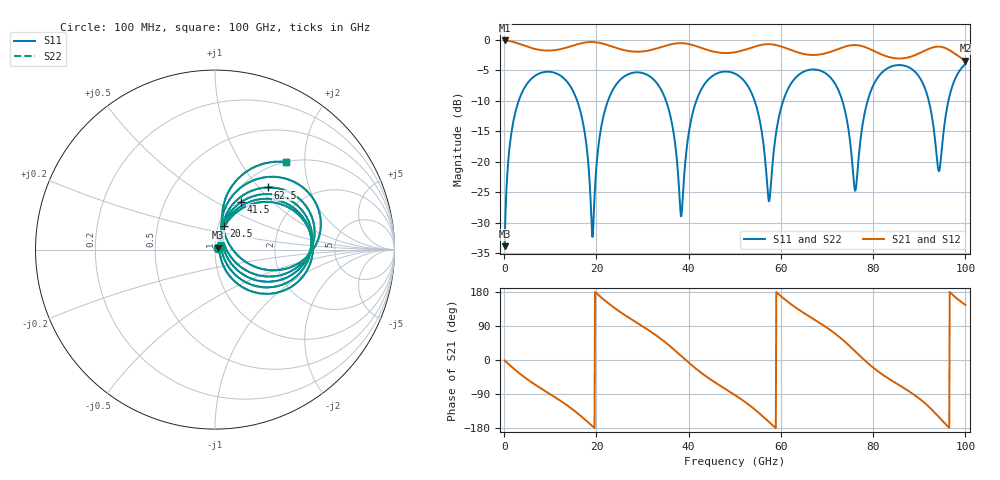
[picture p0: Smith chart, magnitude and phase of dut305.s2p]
! Touchstone file exported from HFSS 2026.1.0
!  File:  C:/ffzhzh/LocalFiles/Ansys_Project_Files/temp_train_TSV_RDL_305_1783697181_45496.aedt
!  Generated:  11:35:46 PM Jul 10, 2026
!  Design:  TSV_RDL
!  Project:  temp_train_TSV_RDL_305_1783697181_45496
! Variables:
!  h_bsmrdl = 4.11um
!  h_ox = 20um
!  h_rdl = 5um
!  h_sub = 77.28um
!  h_tmrdl = 4.14um
!  h_tsv = 77.28um
!  h_via = 3um
!  l_bsmrdl = 491.17um
!  l_sub = 2999.87um
!  l_tmrdl = 259.81um
!  m_sub = 200um
!  pitch = 42.26um
!  r_tsv = 7.02um
!  s_tmrdl = 10um
!  w_bsmrdl = 17.05um
!  w_sub = 500um
!  w_tmrdl = 11.99um
!  x_tsv_center1 = 265.805um
!  x_tsv_center2 = 774.025um
!  x_tsv_center3 = 1045.825um
!  x_tsv_center4 = 1554.045um
!  x_tsv_center5 = 1825.845um
!  x_tsv_center6 = 2334.065um
# GHz S MA R 50.000000
! Terminal data exported
! Port[1] = TM_RDL1_1_T1
! Port[2] = TM_RDL5_1_T1
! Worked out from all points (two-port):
!   1000 points, 100 MHz to 100 GHz, reference 50 ohm
!   highest |S21| = -0.15 dB at 100 MHz (marker M1); lowest = -3.5 dB at 100 GHz (marker M2)
!   |S21| within 3 dB of the highest: start of sweep to 99.32 GHz
!   lowest |S11| = -33.8 dB at 100 MHz (marker M3), VSWR 1.04, Z = 51.7 + j1.19 ohm
!   |S11| at or under -10 dB: 15.83 GHz to 22.51 GHz (6.685 GHz wide, 34.9 % of centre); 35.08 GHz to 41.67 GHz (6.592 GHz wide, 17.2 % of centre); 54.29 GHz to 60.51 GHz (6.219 GHz wide, 10.8 % of centre) (the widest 3 of 6)
!   |S22| runs from -33.8 to -4.0 dB; largest |S21 - S12| = 1.5e-12
!   S11 on the Smith chart (normalised r, x): 100 MHz: 1.03, +0.02; 20.5 GHz: 1.06, +0.29; 41.5 GHz: 1.14, +0.66; 62.5 GHz: 1.28, +1.12; 100 GHz: 1.01, +1.62
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0.1  0.0204 34.4  0.9833 -1.2  0.9833 -1.2  0.0204 34.4
! Gamma 0 0 0 0
! Port Impedance 50 0 50 0
1.7  0.1849 64.9  0.9623 -18.7  0.9623 -18.7  0.1849 64.9
4.9  0.4313 37.0  0.8777 -49.9  0.8777 -49.9  0.4313 37.0
16.8  0.235 -56.1  0.9339 -149.6  0.9339 -149.6  0.235 -55.9
19.1  0.02435 -8.0  0.955 -174.1  0.955 -174.1  0.02498 -7.6
20.5  0.1402 69.9  0.9426 170.9  0.9426 170.9  0.1404 69.6
25.1  0.466 34.4  0.8362 127.2  0.8362 127.2  0.4661 34.4
33.4  0.4251 -27.2  0.8531 61.1  0.8531 61.1  0.4252 -27.2
38.4  0.03575 12.2  0.9347 10.5  0.9347 10.5  0.0353 12.1
41.5  0.3028 61.1  0.8867 -22.1  0.8867 -22.1  0.3026 61.2
50.1  0.525 -2.5  0.7882 -93.0  0.7882 -93.0  0.525 -2.3
54.7  0.2824 -37.0  0.8847 -134.2  0.8847 -134.2  0.2825 -36.7
57.4  0.04753 11.6  0.9169 -163.3  0.9169 -163.3  0.04853 11.7
62.5  0.4533 49.8  0.8122 144.5  0.8122 144.5  0.4534 49.7
66.7  0.5691 19.6  0.7484 110.7  0.7484 110.7  0.5691 19.7
72.8  0.3599 -24.5  0.8473 59.5  0.8473 59.5  0.3599 -24.4
76.1  0.05793 19.9  0.9013 22.9  0.9013 22.9  0.05834 20.0
78.9  0.3251 71.3  0.8485 -8.8  0.8485 -8.8  0.3252 71.3
83.4  0.5902 38.1  0.7197 -49.5  0.7197 -49.5  0.5903 38.1
90.5  0.4598 -10.6  0.7881 -106.5  0.7881 -106.5  0.4599 -10.5
94.3  0.08386 31.4  0.8753 -151.2  0.8753 -151.2  0.08375 31.4
100  0.6285 50.7  0.6707 145.3  0.6707 145.3  0.6284 50.9
